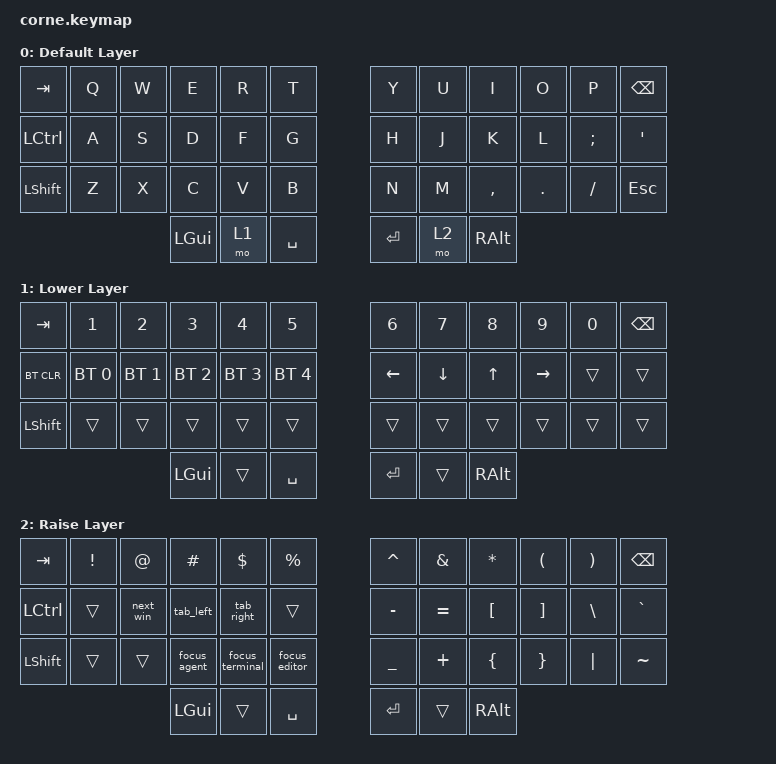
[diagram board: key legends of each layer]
/*
 * Copyright (c) 2020 The ZMK Contributors
 *
 * SPDX-License-Identifier: MIT
 */

#include <behaviors.dtsi>
#include <dt-bindings/zmk/keys.h>
#include <dt-bindings/zmk/bt.h>

/ {
        macros {
                // Tab Previous: Cmd + Opt + Left
                tab_left: tab_left {
                compatible = "zmk,behavior-macro";
                #binding-cells = <0>;
                bindings
                        = <&macro_press &kp LGUI &kp LALT>
                        , <&macro_tap &kp LEFT>
                        , <&macro_release &kp LGUI &kp LALT>;
                };

                // Tab Next: Cmd + Opt + Right
                tab_right: tab_right {
                compatible = "zmk,behavior-macro";
                #binding-cells = <0>;
                bindings
                        = <&macro_press &kp LGUI &kp LALT>
                        , <&macro_tap &kp RIGHT>
                        , <&macro_release &kp LGUI &kp LALT>;
                };

                next_win: next_win { // Switch windows in same app (Cmd + `)
                        compatible = "zmk,behavior-macro";
                        #binding-cells = <0>;
                        bindings = <&macro_press &kp LGUI>, <&macro_tap &kp GRAVE>, <&macro_release &kp LGUI>;
                };

                focus_editor: focus_editor {
                        compatible = "zmk,behavior-macro";
                        #binding-cells = <0>;
                        bindings = <&macro_press &kp LCTRL>, <&macro_tap &kp N1>, <&macro_release &kp LCTRL>;
                };
                focus_terminal: focus_terminal {
                        compatible = "zmk,behavior-macro";
                        #binding-cells = <0>;
                        bindings = <&macro_press &kp LCTRL>, <&macro_tap &kp GRAVE>, <&macro_release &kp LCTRL>;
                };
                focus_agent: focus_agent {
                        compatible = "zmk,behavior-macro";
                        #binding-cells = <0>;
                        bindings = <&macro_press &kp LGUI &kp LALT>, <&macro_tap &kp I>, <&macro_release &kp LGUI &kp LALT>;
                };
        };

        keymap {
                compatible = "zmk,keymap";

                default_layer {
                        display-name = "Default Layer";
// -----------------------------------------------------------------------------------------
// |  TAB |  Q  |  W  |  E  |  R  |  T  |   |  Y  |  U   |  I  |  O  |  P  | BSPC |
// | CTRL |  A  |  S  |  D  |  F  |  G  |   |  H  |  J   |  K  |  L  |  ;  |  '   |
// | SHFT |  Z  |  X  |  C  |  V  |  B  |   |  N  |  M   |  ,  |  .  |  /  | ESC  |
//                    | GUI | LWR | SPC |   | ENT | RSE  | ALT |
                        bindings = <
   &kp TAB   &kp Q &kp W &kp E &kp R &kp T   &kp Y &kp U  &kp I     &kp O   &kp P    &kp BSPC
   &kp LCTRL &kp A &kp S &kp D &kp F &kp G   &kp H &kp J  &kp K     &kp L   &kp SEMI &kp SQT
   &kp LSHFT &kp Z &kp X &kp C &kp V &kp B   &kp N &kp M  &kp COMMA &kp DOT &kp FSLH &kp ESC
                  &kp LGUI &mo 1 &kp SPACE   &kp RET &mo 2 &kp RALT
                        >;
                };
                lower_layer {
                        display-name = "Lower Layer";
// -----------------------------------------------------------------------------------------
// |  TAB |  1  |  2  |  3  |  4  |  5  |   |  6  |  7  |  8  |  9  |  0  | BSPC |
// | BTCLR| BT1 | BT2 | BT3 | BT4 | BT5 |   | LFT | DWN |  UP | RGT |     |      |
// | SHFT |     |     |     |     |     |   |     |     |     |     |     |      |
//                    | GUI |     | SPC |   | ENT |     | ALT |
                        bindings = <
   &kp TAB    &kp N1       &kp N2       &kp N3       &kp N4       &kp N5         &kp N6   &kp N7   &kp N8 &kp N9    &kp N0 &kp BSPC
   &bt BT_CLR &bt BT_SEL 0 &bt BT_SEL 1 &bt BT_SEL 2 &bt BT_SEL 3 &bt BT_SEL 4   &kp LEFT &kp DOWN &kp UP &kp RIGHT &trans &trans
   &kp LSHFT  &trans       &trans       &trans       &trans       &trans         &trans   &trans   &trans &trans    &trans &trans
                                    &kp LGUI     &trans       &kp SPACE      &kp RET  &trans   &kp RALT
                        >;
                };

                raise_layer {
                        display-name = "Raise Layer";
// -----------------------------------------------------------------------------------------
// |  TAB |  !  |  @  |  #  |  $  |  %  |   |  ^  |  &  |  *  |  (  |  )  | BSPC |
// | CTRL |     |n_win|tab_l|tab_r|     |   |  -  |  =  |  [  |  ]  |  \  |  `   |
// | SHFT |     |     |fagen|fterm|fedit|   |  _  |  +  |  {  |  }  | "|" |  ~   |
//                    | GUI |     | SPC |   | ENT |     | ALT |
                        bindings = <
   &kp  TAB  &kp EXCL &kp AT &kp HASH &kp DLLR &kp PRCNT   &kp CARET &kp AMPS  &kp ASTRK &kp LPAR &kp RPAR &kp BSPC
   &kp LCTRL &trans   &next_win &tab_left   &tab_right   &trans      &kp MINUS &kp EQUAL &kp LBKT  &kp RBKT &kp BSLH &kp GRAVE
   &kp LSHFT &trans   &trans &focus_agent &focus_terminal &focus_editor  &kp UNDER &kp PLUS  &kp LBRC  &kp RBRC &kp PIPE &kp TILDE
                             &kp LGUI &trans   &kp SPACE   &kp RET   &trans    &kp RALT
                        >;
                };
        };
};
